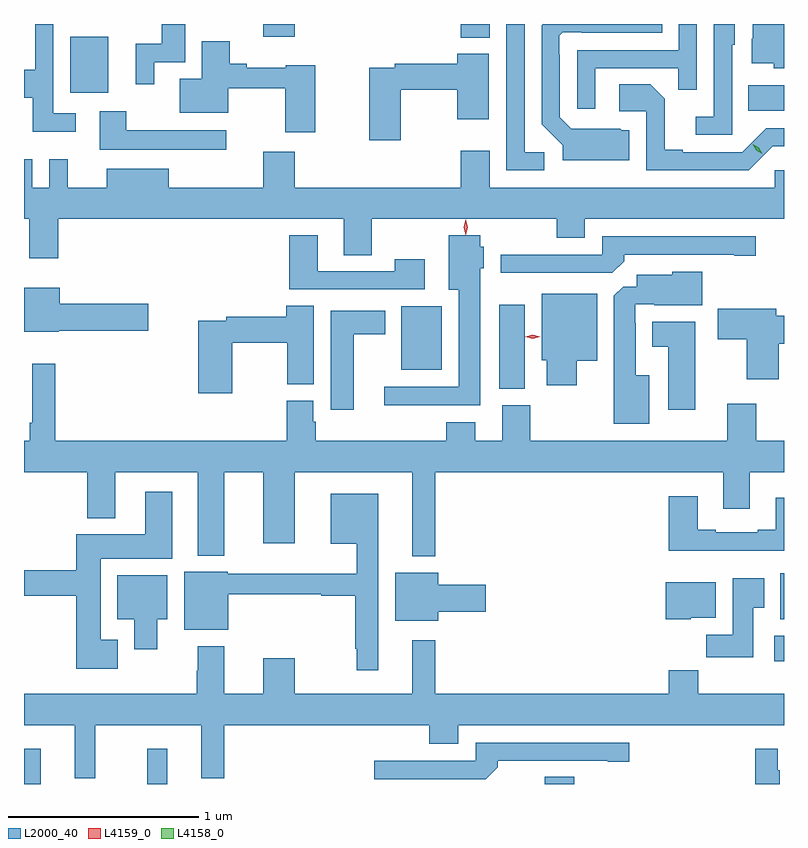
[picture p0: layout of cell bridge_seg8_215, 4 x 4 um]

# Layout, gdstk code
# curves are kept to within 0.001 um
import gdstk
lib = gdstk.Library(unit=1e-6, precision=1e-09)
def R(c, l, rs):  # rectangles x0, y0, x1, y1
    for r in rs: c.add(gdstk.rectangle(r[:2], r[2:], *l))
def P(c, l, *ps):  # polygons
    for p in ps: c.add(gdstk.Polygon(p, *l))
L2000_40 = (2000, 40)
L4158_0 = (4158, 0)
L4159_0 = (4159, 0)

bridge_seg8_215 = lib.new_cell('bridge_seg8_215')
R(bridge_seg8_215, L2000_40, [(151.76,1120.186,151.849,1120.372), (152.409,1120.186,152.515,1120.372), (154.502,1120.186,154.655,1120.223), (155.709,1120.832,155.76,1120.966), (155.741,1121.054,155.76,1121.296), (154.262,1122.265,154.396,1122.709), (153.746,1122.365,153.958,1122.7), (155.572,1123.73,155.76,1123.864), (152.003,1123.823,152.203,1124.119), (154.058,1124.114,154.21,1124.186), (153.02,1124.118,153.184,1124.186), (152.7,1124.184,152.799,1124.186)])
P(bridge_seg8_215, L2000_40, [(154.498,1123.512),(154.395,1123.512),(154.395,1124.186),(154.299,1124.186),(154.299,1123.416),(154.498,1123.416)],
  [(155.487,1124.076),(155.502,1124.076),(155.502,1124.186),(155.391,1124.186),(155.391,1123.699),(155.295,1123.699),(155.295,1123.602),(155.487,1123.602)],
  [(152.446,1123.986),(152.608,1123.986),(152.608,1124.186),(152.486,1124.186),(152.486,1124.082),(152.348,1124.082),(152.348,1123.869),(152.446,1123.869)],
  [(152.032,1123.716),(151.914,1123.716),(151.914,1124.186),(151.818,1124.186),(151.818,1123.945),(151.76,1123.945),(151.76,1123.798),(151.806,1123.798),(151.806,1123.619),(152.032,1123.619)],
  [(154.945,1123.627),(154.907,1123.627),(154.898,1123.636),(154.641,1123.635),(154.581,1123.695),(154.581,1124.024),(154.578,1124.024),(154.578,1124.124),(154.596,1124.142),(154.696,1124.142),(154.696,1124.139),(155.12,1124.139),(155.12,1124.186),(154.491,1124.186),(154.485,1124.18),(154.485,1123.658),(154.595,1123.548),(154.595,1123.469),(154.945,1123.469)],
  [(155.76,1124.186),(155.595,1124.186),(155.595,1124.108),(155.591,1124.108),(155.591,1123.979),(155.706,1123.979),(155.706,1123.952),(155.76,1123.952)],
  [(154.767,1123.953),(155.203,1123.953),(155.203,1123.84),(155.301,1123.84),(155.301,1124.186),(155.205,1124.186),(155.205,1124.049),(154.671,1124.049),(154.671,1123.74),(154.767,1123.74)],
  [(153.292,1123.969),(153.138,1123.969),(153.138,1123.957),(152.932,1123.957),(152.932,1123.976),(152.844,1123.976),(152.844,1124.095),(152.696,1124.095),(152.696,1123.897),(152.579,1123.897),(152.579,1123.718),(152.836,1123.718),(152.836,1123.848),(153.134,1123.848),(153.134,1123.617),(153.292,1123.617)],
  [(153.744,1123.84),(154.04,1123.84),(154.04,1123.686),(154.207,1123.686),(154.207,1124.029),(154.04,1124.029),(154.04,1123.976),(153.712,1123.976),(153.712,1123.956),(153.578,1123.956),(153.578,1123.575),(153.744,1123.575)],
  [(155.7,1123.542),(155.76,1123.542),(155.76,1123.638),(155.667,1123.638),(155.541,1123.512),(155.227,1123.512),(155.227,1123.525),(155.133,1123.525),(155.133,1123.792),(155.057,1123.868),(154.893,1123.868),(154.893,1123.728),(155.034,1123.728),(155.034,1123.416),(155.574,1123.416)],
  [(152.824,1123.627),(152.299,1123.627),(152.299,1123.726),(152.159,1123.726),(152.159,1123.523),(152.824,1123.523)],
  [(151.94,1123.16),(153.443,1123.16),(153.443,1122.97),(153.591,1122.97),(153.591,1123.16),(154.564,1123.16),(154.564,1123.061),(154.711,1123.061),(154.711,1123.16),(155.76,1123.16),(155.76,1123.417),(155.712,1123.417),(155.712,1123.324),(154.21,1123.324),(154.21,1123.519),(154.058,1123.519),(154.058,1123.324),(153.184,1123.324),(153.184,1123.513),(153.02,1123.513),(153.02,1123.324),(152.521,1123.324),(152.521,1123.423),(152.195,1123.423),(152.195,1123.324),(151.991,1123.324),(151.991,1123.474),(151.893,1123.474),(151.893,1123.324),(151.803,1123.324),(151.803,1123.474),(151.76,1123.474),(151.76,1123.16),(151.787,1123.16),(151.787,1122.954),(151.94,1122.954)],
  [(154.162,1122.9),(154.18,1122.9),(154.18,1123.014),(154.162,1123.014),(154.162,1123.075),(153.995,1123.075),(153.995,1122.788),(154.049,1122.788),(154.049,1122.276),(153.657,1122.276),(153.657,1122.179),(154.162,1122.179)],
  [(153.868,1122.949),(153.712,1122.949),(153.712,1122.885),(153.307,1122.885),(153.307,1123.075),(153.155,1123.075),(153.155,1122.789),(153.868,1122.789)],
  [(154.919,1122.938),(154.919,1122.972),(155.498,1122.972),(155.498,1122.967),(155.611,1122.967),(155.611,1123.068),(154.803,1123.068),(154.803,1122.972),(154.269,1122.972),(154.269,1122.876),(154.857,1122.876)],
  [(155.05,1122.337),(154.981,1122.337),(154.981,1122.611),(154.977,1122.611),(154.977,1122.711),(155.077,1122.711),(155.077,1122.707),(155.329,1122.707),(155.329,1122.883),(155.172,1122.883),(155.172,1122.865),(154.985,1122.865),(154.985,1122.804),(154.914,1122.804),(154.865,1122.755),(154.865,1122.083),(155.05,1122.083)],
  [(151.944,1122.572),(152.413,1122.572),(152.413,1122.714),(151.948,1122.714),(151.948,1122.799),(151.76,1122.799),(151.76,1122.566),(151.944,1122.566)],
  [(154.669,1122.413),(154.777,1122.413),(154.777,1122.766),(154.484,1122.766),(154.484,1122.417),(154.511,1122.417),(154.511,1122.285),(154.669,1122.285)],
  [(152.856,1122.508),(153.145,1122.508),(153.145,1122.289),(153.286,1122.289),(153.286,1122.704),(153.14,1122.704),(153.14,1122.644),(152.824,1122.644),(152.824,1122.624),(152.678,1122.624),(152.678,1122.243),(152.856,1122.243)],
  [(155.732,1122.503),(155.76,1122.503),(155.76,1122.65),(155.719,1122.65),(155.719,1122.688),(155.412,1122.688),(155.412,1122.526),(155.564,1122.526),(155.564,1122.315),(155.732,1122.315)],
  [(153.496,1122.554),(153.661,1122.554),(153.661,1122.676),(153.374,1122.676),(153.374,1122.156),(153.496,1122.156)],
  [(155.293,1122.619),(155.066,1122.619),(155.066,1122.488),(155.15,1122.488),(155.15,1122.156),(155.293,1122.156)],
  [(153.925,1121.828),(155.441,1121.828),(155.441,1121.634),(155.581,1121.634),(155.581,1121.828),(155.76,1121.828),(155.76,1121.992),(155.615,1121.992),(155.615,1122.187),(155.462,1122.187),(155.462,1121.992),(154.425,1121.992),(154.425,1122.18),(154.277,1122.18),(154.277,1121.992),(154.135,1121.992),(154.135,1122.091),(153.983,1122.091),(153.983,1121.992),(153.296,1121.992),(153.296,1122.093),(153.283,1122.093),(153.283,1122.204),(153.143,1122.204),(153.143,1121.992),(151.925,1121.992),(151.925,1122.397),(151.804,1122.397),(151.804,1122.088),(151.789,1122.088),(151.789,1121.992),(151.76,1121.992),(151.76,1121.828),(152.092,1121.828),(152.092,1121.585),(152.239,1121.585),(152.239,1121.828),(152.675,1121.828),(152.675,1121.387),(152.815,1121.387),(152.815,1121.828),(153.02,1121.828),(153.02,1121.454),(153.184,1121.454),(153.184,1121.828),(153.803,1121.828),(153.803,1121.384),(153.925,1121.384)],
  [(152.254,1120.945),(152.164,1120.945),(152.164,1121.372),(152.539,1121.372),(152.539,1121.725),(152.399,1121.725),(152.399,1121.5),(152.035,1121.5),(152.035,1121.312),(151.76,1121.312),(151.76,1121.176),(152.035,1121.176),(152.035,1120.793),(152.254,1120.793)],
  [(153.625,1121.713),(153.374,1121.713),(153.374,1121.45),(153.511,1121.45),(153.511,1121.293),(152.832,1121.293),(152.832,1121.302),(152.603,1121.302),(152.603,1120.997),(152.836,1120.997),(152.836,1121.184),(153.325,1121.184),(153.325,1121.176),(153.504,1121.176),(153.504,1120.897),(153.511,1120.897),(153.511,1120.785),(153.625,1120.785)],
  [(155.76,1121.692),(155.717,1121.692),(155.717,1121.524),(155.621,1121.524),(155.621,1121.511),(155.401,1121.511),(155.401,1121.524),(155.305,1121.524),(155.305,1121.701),(155.153,1121.701),(155.153,1121.414),(155.76,1121.414)],
  [(153.94,1121.092),(154.189,1121.092),(154.189,1121.234),(153.94,1121.234),(153.94,1121.299),(153.713,1121.299),(153.713,1121.045),(153.94,1121.045)],
  [(152.461,1121.054),(152.515,1121.054),(152.515,1121.284),(152.252,1121.284),(152.252,1121.054),(152.339,1121.054),(152.339,1120.896),(152.461,1120.896)],
  [(155.599,1121.113),(155.656,1121.113),(155.656,1121.269),(155.489,1121.269),(155.489,1120.972),(155.35,1120.972),(155.35,1120.854),(155.599,1120.854)],
  [(155.268,1121.06),(155.401,1121.06),(155.401,1121.248),(155.138,1121.248),(155.138,1121.054),(155.268,1121.054)],
  [(152.134,1120.496),(152.693,1120.496),(152.693,1120.215),(152.815,1120.215),(152.815,1120.496),(153.893,1120.496),(153.893,1120.397),(154.045,1120.397),(154.045,1120.496),(155.76,1120.496),(155.76,1120.66),(155.309,1120.66),(155.309,1120.784),(155.153,1120.784),(155.153,1120.66),(153.925,1120.66),(153.925,1120.942),(153.803,1120.942),(153.803,1120.66),(153.184,1120.66),(153.184,1120.849),(153.02,1120.849),(153.02,1120.66),(152.815,1120.66),(152.815,1120.912),(152.675,1120.912),(152.675,1120.781),(152.668,1120.781),(152.668,1120.66),(151.76,1120.66),(151.76,1120.496),(152.027,1120.496),(152.027,1120.215),(152.134,1120.215)],
  [(154.253,1120.274),(154.253,1120.308),(154.832,1120.308),(154.832,1120.303),(154.945,1120.303),(154.945,1120.404),(154.137,1120.404),(154.137,1120.308),(153.603,1120.308),(153.603,1120.212),(154.191,1120.212)],
  [(155.737,1120.259),(155.726,1120.259),(155.726,1120.372),(155.608,1120.372),(155.608,1120.186),(155.737,1120.186)])
P(bridge_seg8_215, L4158_0, [(155.646,1123.503),(155.614,1123.521),(155.596,1123.553),(155.596,1123.554),(155.596,1123.554),(155.628,1123.535),(155.646,1123.503),(155.646,1123.503)])
P(bridge_seg8_215, L4159_0, [(154.437,1122.53),(154.398,1122.54),(154.398,1122.54),(154.398,1122.54),(154.437,1122.55),(154.477,1122.54),(154.477,1122.54),(154.477,1122.54)],
  [(154.085,1123.074),(154.085,1123.075),(154.075,1123.116),(154.085,1123.156),(154.085,1123.157),(154.085,1123.156),(154.095,1123.116),(154.085,1123.075)])

lib.write_gds('bridge_seg8_215.gds')
